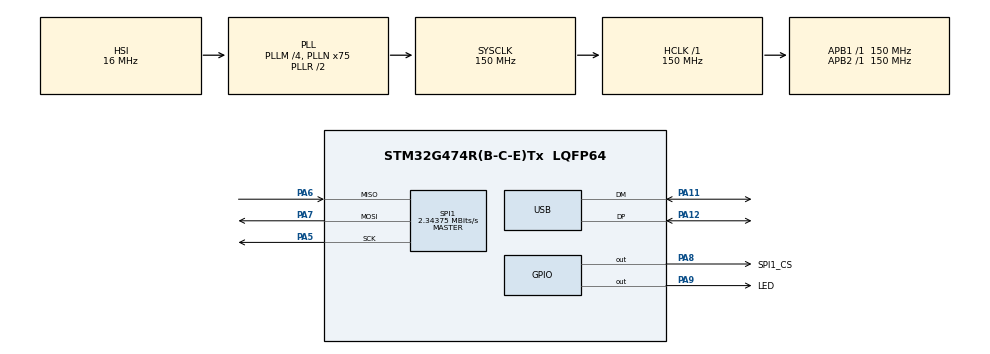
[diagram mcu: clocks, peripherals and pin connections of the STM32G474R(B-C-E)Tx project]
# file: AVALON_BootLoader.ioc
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Mcu.Family=STM32G4
Mcu.Name=STM32G474R(B-C-E)Tx
Mcu.Package=LQFP64
NVIC.PriorityGroup=NVIC_PRIORITYGROUP_4
NVIC.USB_LP_IRQn=true\:0\:0\:false\:false\:true\:false\:true\:true
PA11.Mode=Device
PA11.Signal=USB_DM
PA12.Mode=Device
PA12.Signal=USB_DP
PA5.Mode=Full_Duplex_Master
PA5.Signal=SPI1_SCK
PA6.Mode=Full_Duplex_Master
PA6.Signal=SPI1_MISO
PA7.Mode=Full_Duplex_Master
PA7.Signal=SPI1_MOSI
PA8.GPIO_Label=SPI1_CS
PA8.Signal=GPIO_Output
PA9.GPIO_Label=LED
PA9.Signal=GPIO_Output
ProjectManager.HeapSize=0x200
ProjectManager.StackSize=0x400
ProjectManager.TargetToolchain=STM32CubeIDE
RCC.ADC12Freq_Value=150000000
RCC.ADC345Freq_Value=150000000
RCC.AHBFreq_Value=150000000
RCC.APB1Freq_Value=150000000
RCC.APB1TimFreq_Value=150000000
RCC.APB2Freq_Value=150000000
RCC.APB2TimFreq_Value=150000000
RCC.CK48CLockSelection=RCC_USBCLKSOURCE_HSI48
RCC.CortexFreq_Value=150000000
RCC.EXTERNAL_CLOCK_VALUE=12288000
RCC.HCLKFreq_Value=150000000
RCC.HSE_VALUE=8000000
RCC.HSI48_VALUE=48000000
RCC.HSI_VALUE=16000000
RCC.LSE_VALUE=32768
RCC.PLLM=RCC_PLLM_DIV4
RCC.PLLN=75
RCC.SYSCLKFreq_VALUE=150000000
RCC.SYSCLKSource=RCC_SYSCLKSOURCE_PLLCLK
RCC.USBFreq_Value=48000000
RCC.VCOOutputFreq_Value=300000000
SPI1.BaudRatePrescaler=SPI_BAUDRATEPRESCALER_64
SPI1.CLKPhase=SPI_PHASE_2EDGE
SPI1.CLKPolarity=SPI_POLARITY_HIGH
SPI1.CalculateBaudRate=2.34375 MBits/s
SPI1.DataSize=SPI_DATASIZE_8BIT
SPI1.Direction=SPI_DIRECTION_2LINES
SPI1.Mode=SPI_MODE_MASTER
SPI1.VirtualType=VM_MASTER
USB_DEVICE.CLASS_NAME_FS=CDC
USB_DEVICE.VirtualMode=Cdc
USB_DEVICE.VirtualModeFS=Cdc_FS
VP_USB_DEVICE_VS_USB_DEVICE_CDC_FS.Mode=CDC_FS
board=custom

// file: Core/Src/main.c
/* USER CODE BEGIN Header */
/**
  ******************************************************************************
  * @file           : main.c
  * @brief          : Main program body
  ******************************************************************************
  * @attention
  *
  * Copyright (c) 2023 STMicroelectronics.
  * All rights reserved.
  *
  * This software is licensed under terms that can be found in the LICENSE file
  * in the root directory of this software component.
  * If no LICENSE file comes with this software, it is provided AS-IS.
  *
  ******************************************************************************
  */
/* USER CODE END Header */
#include "main.h"
#include "usb_device.h"
#include <stdio.h>
#include <string.h>
/* USER CODE BEGIN Includes */
#include "at25x041b.h"
/* USER CODE END Includes */

/* USER CODE BEGIN PTD */
uint8_t start_of_flash = 0;
uint8_t end_of_flash = 0;
uint8_t end_of_coordinate = 0;
/* USER CODE END PTD */

SPI_HandleTypeDef hspi1;

/* USER CODE BEGIN PV */
AT25X041B_t external_flash;
coord_t coordinate;
/* USER CODE END PV */

void SystemClock_Config(void);
static void MX_GPIO_Init(void);
static void MX_SPI1_Init(void);
/* USER CODE BEGIN PFP */
void JumpToApplication(uint32_t application_addr);
uint8_t Rx_Buffer_Processing(uint8_t RX_BUFFER[],coord_t *output);
/* USER CODE END PFP */

/* USER CODE BEGIN 0 */
extern uint8_t RX_BUFFER[100];
/* USER CODE END 0 */

int main(void)
{

  /* MCU Configuration--------------------------------------------------------*/

  /* Reset of all peripherals, Initializes the Flash interface and the Systick. */
  HAL_Init();

  /* Configure the system clock */
  SystemClock_Config();

  /* Initialize all configured peripherals */
  MX_GPIO_Init();
  MX_USB_Device_Init();
  MX_SPI1_Init();
  /* USER CODE BEGIN 2 */

  /* Init the external flash */
  if(AT25X041B_Init(&hspi1, &external_flash, SPI1_CS_GPIO_Port, SPI1_CS_Pin) != 0x00){
	  Error_Handler();
  }

  HAL_GPIO_WritePin(LED_GPIO_Port, LED_Pin, GPIO_PIN_SET);

  /* loop to ensure user is ready to send a data */
  uint8_t Flash_confirmation[] = "Flashing data please wait ...\r\n";
  uint8_t Print_time[] = "Waiting for USB interrupt !\r\n";
  uint8_t Flash_erase[] = "External flash erase please wait ... \r\n";
  uint8_t Jumping_to_app[] = "Jumping to application !\r\n";
  uint8_t Error1[] = "An error occurred while erasing external flash !\r\n";
  uint8_t Write_confirmation[] = "Flash successful\r\n";

  for(int i=0;i<TIME_TO_WAIT_S;i++){
	  if(start_of_flash){
		  CDC_Transmit_FS(Flash_erase, sizeof(Flash_erase));
		  if( AT25X041B_ChipErase(&hspi1, &external_flash) == 0x01){
			  CDC_Transmit_FS(Flash_confirmation, sizeof(Flash_confirmation));
		  }
		  else{
			  CDC_Transmit_FS(Error1, sizeof(Error1));
		  }

		  /* Wait until we received a end of flash sequence */
		  while(end_of_flash != 1){

			  /* Wait until a full coordinate has been send, it must end with \r\n */
			  if(end_of_coordinate == 0x01){
				  /* convert RX buffer into coordinate */
				  Rx_Buffer_Processing(RX_BUFFER,&coordinate);

				  /* Flash the external flash */
				  WriteCoordinateFlash(&hspi1, &external_flash,coordinate);
				  end_of_coordinate = 0;
				  memset(RX_BUFFER, 0, sizeof(RX_BUFFER));
				  CDC_Transmit_FS(Write_confirmation, sizeof(Write_confirmation));
			  }
		  }
		  break;
	  }
	  CDC_Transmit_FS(Print_time, sizeof(Print_time));
	  HAL_Delay(1000);
  }

  CDC_Transmit_FS(Jumping_to_app, sizeof(Jumping_to_app));
  HAL_Delay(1000);
  JumpToApplication(APP_ADDRESS);
  /* USER CODE END 2 */

  /* Infinite loop */
  while (1)
  {

  }
}

void SystemClock_Config(void)
{
  RCC_OscInitTypeDef RCC_OscInitStruct = {0};
  RCC_ClkInitTypeDef RCC_ClkInitStruct = {0};

  /** Configure the main internal regulator output voltage
  */
  HAL_PWREx_ControlVoltageScaling(PWR_REGULATOR_VOLTAGE_SCALE1);

  /** Initializes the RCC Oscillators according to the specified parameters
  * in the RCC_OscInitTypeDef structure.
  */
  RCC_OscInitStruct.OscillatorType = RCC_OSCILLATORTYPE_HSI|RCC_OSCILLATORTYPE_HSI48;
  RCC_OscInitStruct.HSIState = RCC_HSI_ON;
  RCC_OscInitStruct.HSICalibrationValue = RCC_HSICALIBRATION_DEFAULT;
  RCC_OscInitStruct.HSI48State = RCC_HSI48_ON;
  RCC_OscInitStruct.PLL.PLLState = RCC_PLL_ON;
  RCC_OscInitStruct.PLL.PLLSource = RCC_PLLSOURCE_HSI;
  RCC_OscInitStruct.PLL.PLLM = RCC_PLLM_DIV4;
  RCC_OscInitStruct.PLL.PLLN = 75;
  RCC_OscInitStruct.PLL.PLLP = RCC_PLLP_DIV2;
  RCC_OscInitStruct.PLL.PLLQ = RCC_PLLQ_DIV2;
  RCC_OscInitStruct.PLL.PLLR = RCC_PLLR_DIV2;
  if (HAL_RCC_OscConfig(&RCC_OscInitStruct) != HAL_OK)
  {
    Error_Handler();
  }

  /** Initializes the CPU, AHB and APB buses clocks
  */
  RCC_ClkInitStruct.ClockType = RCC_CLOCKTYPE_HCLK|RCC_CLOCKTYPE_SYSCLK
                              |RCC_CLOCKTYPE_PCLK1|RCC_CLOCKTYPE_PCLK2;
  RCC_ClkInitStruct.SYSCLKSource = RCC_SYSCLKSOURCE_PLLCLK;
  RCC_ClkInitStruct.AHBCLKDivider = RCC_SYSCLK_DIV1;
  RCC_ClkInitStruct.APB1CLKDivider = RCC_HCLK_DIV1;
  RCC_ClkInitStruct.APB2CLKDivider = RCC_HCLK_DIV1;

  if (HAL_RCC_ClockConfig(&RCC_ClkInitStruct, FLASH_LATENCY_4) != HAL_OK)
  {
    Error_Handler();
  }
}

static void MX_SPI1_Init(void)
{

  /* SPI1 parameter configuration*/
  hspi1.Instance = SPI1;
  hspi1.Init.Mode = SPI_MODE_MASTER;
  hspi1.Init.Direction = SPI_DIRECTION_2LINES;
  hspi1.Init.DataSize = SPI_DATASIZE_8BIT;
  hspi1.Init.CLKPolarity = SPI_POLARITY_HIGH;
  hspi1.Init.CLKPhase = SPI_PHASE_2EDGE;
  hspi1.Init.NSS = SPI_NSS_SOFT;
  hspi1.Init.BaudRatePrescaler = SPI_BAUDRATEPRESCALER_64;
  hspi1.Init.FirstBit = SPI_FIRSTBIT_MSB;
  hspi1.Init.TIMode = SPI_TIMODE_DISABLE;
  hspi1.Init.CRCCalculation = SPI_CRCCALCULATION_DISABLE;
  hspi1.Init.CRCPolynomial = 7;
  hspi1.Init.CRCLength = SPI_CRC_LENGTH_DATASIZE;
  hspi1.Init.NSSPMode = SPI_NSS_PULSE_DISABLE;
  if (HAL_SPI_Init(&hspi1) != HAL_OK)
  {
    Error_Handler();
  }

}

static void MX_GPIO_Init(void)
{
  GPIO_InitTypeDef GPIO_InitStruct = {0};

  /* GPIO Ports Clock Enable */
  __HAL_RCC_GPIOA_CLK_ENABLE();

  /*Configure GPIO pin Output Level */
  HAL_GPIO_WritePin(GPIOA, SPI1_CS_Pin|LED_Pin, GPIO_PIN_RESET);

  /*Configure GPIO pins : SPI1_CS_Pin LED_Pin */
  GPIO_InitStruct.Pin = SPI1_CS_Pin|LED_Pin;
  GPIO_InitStruct.Mode = GPIO_MODE_OUTPUT_PP;
  GPIO_InitStruct.Pull = GPIO_NOPULL;
  GPIO_InitStruct.Speed = GPIO_SPEED_FREQ_LOW;
  HAL_GPIO_Init(GPIOA, &GPIO_InitStruct);

}

/* USER CODE BEGIN 4 */
void JumpToApplication(uint32_t application_addr){

	  /*Init a function pointer*/
	  uint32_t go_address = *((volatile uint32_t*) (application_addr + 4));
	  void (*jump_to_app)(void) = (void *)go_address;

	  /*disable all IRQ*/
	  __disable_irq();

	  /*Uninit all peripheral use by the bootloader*/
	  HAL_GPIO_DeInit(LED_GPIO_Port, LED_Pin);

	  /* Disable SPI*/
	  HAL_SPI_DeInit(&hspi1);

	  /*Disable clock*/
	  HAL_RCC_DeInit();

	  /*Relocate vector table*/
	  SCB->VTOR = application_addr;

	  /*Set main stack pointer pas sure*/
	  __set_MSP(*(volatile uint32_t*) application_addr);

	  /*Reset systick timer*/
	  SysTick->CTRL = 0;
	  SysTick->LOAD = 0;
	  SysTick->VAL = 0;
		//#error "In order to jump correctly the app should be relocated at different @ - please allow more than (2048byte*4)=16384 byte -- probably around 40 or 42 kB "
	  /*Jump*/
	  jump_to_app();
}

/*
 * @brief Convert RX buffer into coordinate - Each coordinate should be send using the following method
 * @method latitude,longitude,altitude\r\n
 * @param RX_BUFFER any size buffer (should end with a \0)
 * @param coord is the output coordinate pointer
 * @output 0 if success 1 else
 */
uint8_t Rx_Buffer_Processing(uint8_t RX_BUFFER[],coord_t *output){

	uint8_t temp_string[30] = {0x0};
	uint8_t temp_char[2] = {0x0};
	uint16_t counter = 0;

	for(int i=0;i<3;i++){

		while((RX_BUFFER[counter] != ',')&&(RX_BUFFER[counter] != '\r')){
			temp_char[0] = RX_BUFFER[counter];
			temp_char[1] = 0;
			strcat(temp_string,temp_char);
			counter++;
		}

		switch (i) {
			case 0:
				output->latitude = atof(temp_string);
				break;
			case 1:
				output->longitude = atof(temp_string);
				break;
			case 2:
				output->altitude = atof(temp_string);
				break;
		}
		counter++;
		memset(temp_string, 0, sizeof(temp_string));
	}
	return 0;
}

/* USER CODE END 4 */

void Error_Handler(void)
{
  __disable_irq();
  while (1)
  {
  }
}
